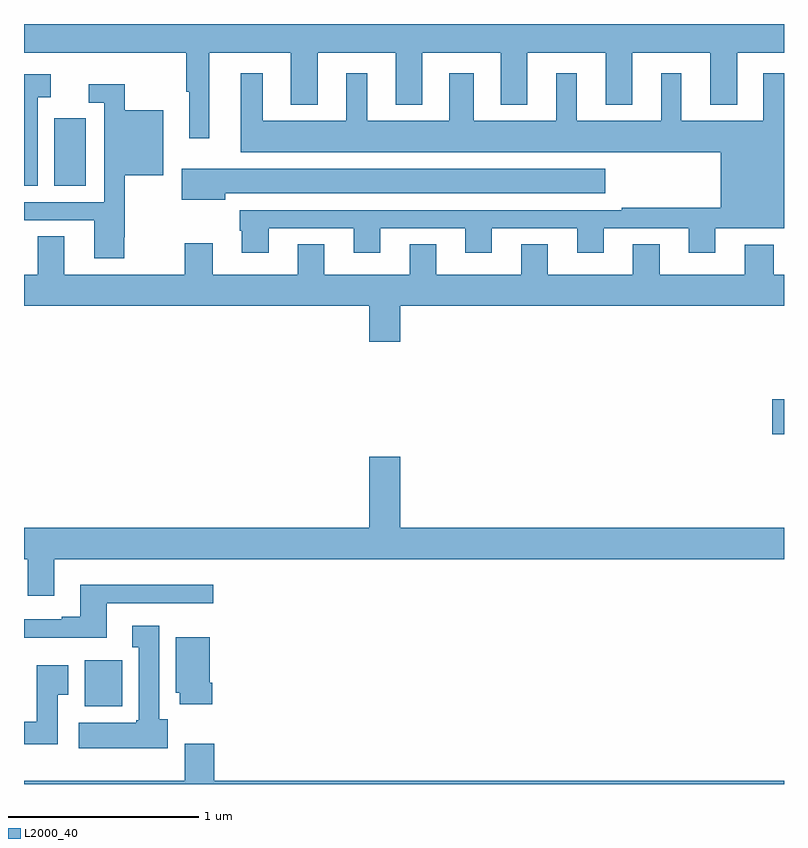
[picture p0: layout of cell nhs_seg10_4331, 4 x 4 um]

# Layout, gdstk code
import gdstk
lib = gdstk.Library(unit=1e-6, precision=1e-09)
def R(c, l, rs):  # rectangles x0, y0, x1, y1
    for r in rs: c.add(gdstk.rectangle(r[:2], r[2:], *l))
def P(c, l, *ps):  # polygons
    for p in ps: c.add(gdstk.Polygon(p, *l))
L2000_40 = (2000, 40)

nhs_seg10_4331 = lib.new_cell('nhs_seg10_4331')
R(nhs_seg10_4331, L2000_40, [(355.319,1264.91,355.516,1265.152), (358.938,1266.341,359,1266.524), (355.16,1267.648,355.324,1268.005)])
P(nhs_seg10_4331, L2000_40, [(355,1268.348),(355.854,1268.348),(355.854,1268.143),(355.871,1268.143),(355.871,1267.899),(355.975,1267.899),(355.975,1268.348),(356.405,1268.348),(356.405,1268.075),(356.545,1268.075),(356.545,1268.348),(356.957,1268.348),(356.957,1268.075),(357.097,1268.075),(357.097,1268.348),(357.509,1268.348),(357.509,1268.075),(357.649,1268.075),(357.649,1268.348),(358.061,1268.348),(358.061,1268.075),(358.201,1268.075),(358.201,1268.348),(358.613,1268.348),(358.613,1268.075),(358.753,1268.075),(358.753,1268.348),(359,1268.348),(359,1268.5),(355,1268.5)],
  [(356.287,1267.425),(356.735,1267.425),(356.735,1267.296),(356.875,1267.296),(356.875,1267.425),(357.323,1267.425),(357.323,1267.296),(357.463,1267.296),(357.463,1267.425),(357.911,1267.425),(357.911,1267.296),(358.051,1267.296),(358.051,1267.425),(358.499,1267.425),(358.499,1267.296),(358.639,1267.296),(358.639,1267.424),(359,1267.424),(359,1268.242),(358.892,1268.242),(358.892,1267.99),(358.459,1267.99),(358.459,1268.242),(358.355,1268.242),(358.355,1267.99),(357.91,1267.99),(357.91,1268.242),(357.8,1268.242),(357.8,1267.99),(357.367,1267.99),(357.367,1268.242),(357.239,1268.242),(357.239,1267.99),(356.806,1267.99),(356.806,1268.242),(356.696,1268.242),(356.696,1267.99),(356.257,1267.99),(356.257,1268.242),(356.141,1268.242),(356.141,1267.826),(358.667,1267.826),(358.667,1267.534),(358.147,1267.534),(358.147,1267.521),(356.135,1267.521),(356.135,1267.413),(356.147,1267.413),(356.147,1267.296),(356.287,1267.296)],
  [(355.072,1268.114),(355.141,1268.114),(355.141,1268.236),(355,1268.236),(355,1267.648),(355.072,1267.648)],
  [(355.527,1267.378),(355.531,1267.378),(355.531,1267.703),(355.732,1267.703),(355.732,1268.047),(355.531,1268.047),(355.531,1268.182),(355.341,1268.182),(355.341,1268.085),(355.422,1268.085),(355.422,1267.563),(355,1267.563),(355,1267.467),(355.37,1267.467),(355.37,1267.266),(355.527,1267.266)],
  [(356.059,1267.61),(358.06,1267.61),(358.06,1267.738),(355.83,1267.738),(355.83,1267.574),(356.059,1267.574)],
  [(356.98,1267.016),(359,1267.016),(359,1267.18),(358.946,1267.18),(358.946,1267.339),(358.793,1267.339),(358.793,1267.18),(358.345,1267.18),(358.345,1267.34),(358.205,1267.34),(358.205,1267.18),(357.757,1267.18),(357.757,1267.34),(357.617,1267.34),(357.617,1267.18),(357.169,1267.18),(357.169,1267.34),(357.029,1267.34),(357.029,1267.18),(356.581,1267.18),(356.581,1267.34),(356.441,1267.34),(356.441,1267.18),(355.993,1267.18),(355.993,1267.345),(355.846,1267.345),(355.846,1267.18),(355.213,1267.18),(355.213,1267.382),(355.073,1267.382),(355.073,1267.18),(355,1267.18),(355,1267.016),(356.816,1267.016),(356.816,1266.828),(356.98,1266.828)],
  [(355.159,1265.684),(359,1265.684),(359,1265.848),(356.98,1265.848),(356.98,1266.223),(356.816,1266.223),(356.816,1265.848),(355,1265.848),(355,1265.684),(355.019,1265.684),(355.019,1265.49),(355.159,1265.49)],
  [(355.435,1265.451),(355.996,1265.451),(355.996,1265.548),(355.295,1265.548),(355.295,1265.38),(355.199,1265.38),(355.199,1265.367),(355,1265.367),(355,1265.27),(355.435,1265.27)],
  [(355.756,1264.842),(355.711,1264.842),(355.711,1265.332),(355.571,1265.332),(355.571,1265.219),(355.604,1265.219),(355.604,1264.836),(355.591,1264.836),(355.591,1264.822),(355.287,1264.822),(355.287,1264.688),(355.756,1264.688)],
  [(355.991,1265.032),(355.978,1265.032),(355.978,1265.272),(355.799,1265.272),(355.799,1264.98),(355.82,1264.98),(355.82,1264.92),(355.991,1264.92)],
  [(355.177,1264.969),(355.234,1264.969),(355.234,1265.125),(355.067,1265.125),(355.067,1264.828),(355,1264.828),(355,1264.71),(355.177,1264.71)],
  [(359,1264.516),(356,1264.516),(356,1264.711),(355.847,1264.711),(355.847,1264.516),(355,1264.516),(355,1264.5),(359,1264.5)])

lib.write_gds('nhs_seg10_4331.gds')
